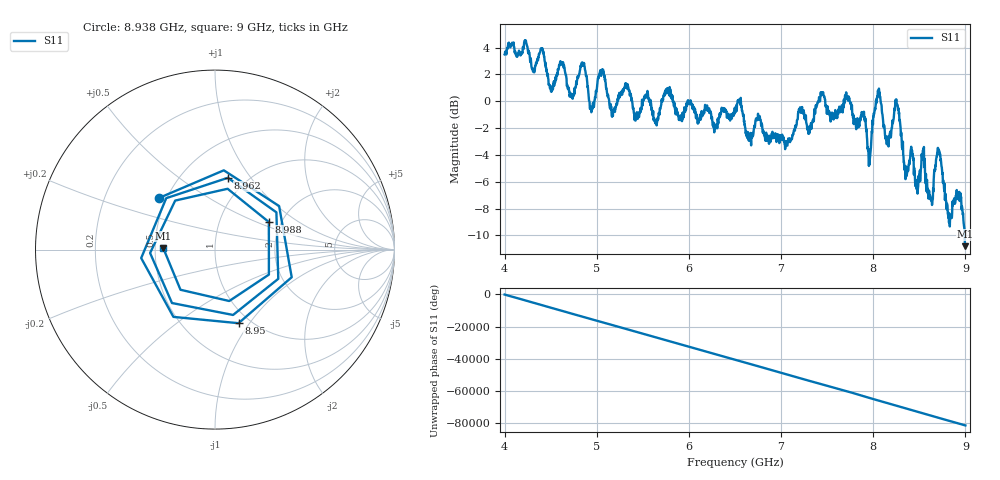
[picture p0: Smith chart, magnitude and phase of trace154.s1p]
! Created with skrf 1.8.0 (http://scikit-rf.org).
# Hz S RI R 50.0
!freq ReS11 ImS11
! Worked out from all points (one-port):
!   1601 points, 4 GHz to 9 GHz, reference 50 ohm
!   lowest |S11| = -10.8 dB at 9 GHz (marker M1), VSWR 1.81, Z = 27.6 + j0.511 ohm
!   |S11| at or under -10 dB: 8.992275 GHz to end of sweep
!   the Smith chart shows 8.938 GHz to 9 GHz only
!   S11 on the Smith chart (normalised r, x): 8.938 GHz: 0.45, +0.32; 8.95 GHz: 0.88, -0.89; 8.962 GHz: 0.82, +0.78; 8.988 GHz: 1.73, +0.60; 9 GHz: 0.55, +0.01
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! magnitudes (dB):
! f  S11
! 4 GHz  3.5
! 4.406 GHz  3.9
! 4.503 GHz  0.7
! 4.625 GHz  2.9
! 4.728 GHz  0.5
! 4.853 GHz  2.8
! 4.947 GHz  -0.5
! 5.05 GHz  2.2
! 5.162 GHz  -1.1
! 5.25 GHz  0.5
! 5.875 GHz  -0.8
! 6.5 GHz  -0.8
! 7.125 GHz  -2.5
! 7.75 GHz  -0.1
! 7.956 GHz  -4.3
! 8.05 GHz  0.8
! 8.153 GHz  -3.1
! 8.256 GHz  -0.3
! 8.375 GHz  -5.2
! 8.541 GHz  -3.7
! 8.625 GHz  -7.2
! 8.709 GHz  -3.6
! 8.819 GHz  -8.3
! 8.938 GHz  -7.4
! 8.95 GHz  -7.3
! 8.962 GHz  -7.8
! 8.988 GHz  -9.4
! 9 GHz  -10.8
